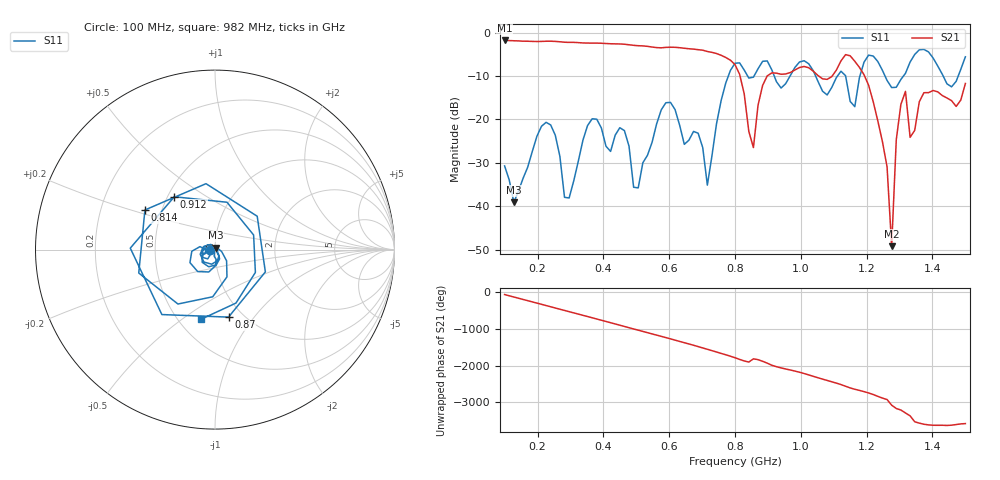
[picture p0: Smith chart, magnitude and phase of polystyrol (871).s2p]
! NanoVNA-App
! Date: 2025-09-25 15:36:39
! Start: 100MHz Stop: 1,5GHz Points: 101
! S-Parameter data: F S11 S21 S12 S22
# Hz S RI R 50
!  Frequency  S11_Real  S11_Imag  S21_Real  S21_Imag  S12_Real  S12_Imag  S22_Real  S22_Imag
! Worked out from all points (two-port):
!   101 points, 100 MHz to 1.5 GHz, reference 50 ohm
!   highest |S21| = -1.80 dB at 100 MHz (marker M1); lowest = -49.2 dB at 1.276 GHz (marker M2)
!   |S21| within 3 dB of the highest: start of sweep to 743.1 MHz
!   lowest |S11| = -39.1 dB at 128 MHz (marker M3), VSWR 1.02, Z = 50.3 + j1.06 ohm
!   |S11| at or under -10 dB: start of sweep to 779.7 MHz; 1.045 GHz to 1.111 GHz (66.3 MHz wide, 6.15 % of centre); 1.256 GHz to 1.312 GHz (55.87 MHz wide, 4.35 % of centre) (the widest 3 of 7)
!   S12 and S22 are empty: the file has one direction only
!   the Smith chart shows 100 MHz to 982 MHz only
!   S11 on the Smith chart (normalised r, x): 100 MHz: 0.94, -0.01; 814 MHz: 0.40, +0.22; 870 MHz: 0.86, -0.75; 912 MHz: 0.54, +0.37; 982 MHz: 0.64, -0.59
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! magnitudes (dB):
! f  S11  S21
! 100 MHz  -30.7  -1.8
! 128 MHz  -39.1  -1.9
! 212 MHz  -21.6  -2.0
! 282 MHz  -37.9  -2.2
! 338 MHz  -24.8  -2.4
! 506 MHz  -35.8  -3.0
! 576 MHz  -17.8  -3.5
! 716 MHz  -35.1  -4.3
! 800 MHz  -7.0  -7.4
! 814 MHz  -7.0  -9.6
! 856 MHz  -10.3  -26.5
! 870 MHz  -8.3  -16.7
! 912 MHz  -8.6  -9.3
! 982 MHz  -8.0  -8.6
! 1.038 GHz  -8.8  -8.9
! 1.192 GHz  -6.8  -9.7
! 1.262 GHz  -11.0  -30.9
! 1.276 GHz  -12.7  -49.2
! 1.29 GHz  -12.6  -24.7
! 1.318 GHz  -9.4  -13.5
! 1.332 GHz  -6.8  -24.1
! 1.5 GHz  -5.6  -11.7
